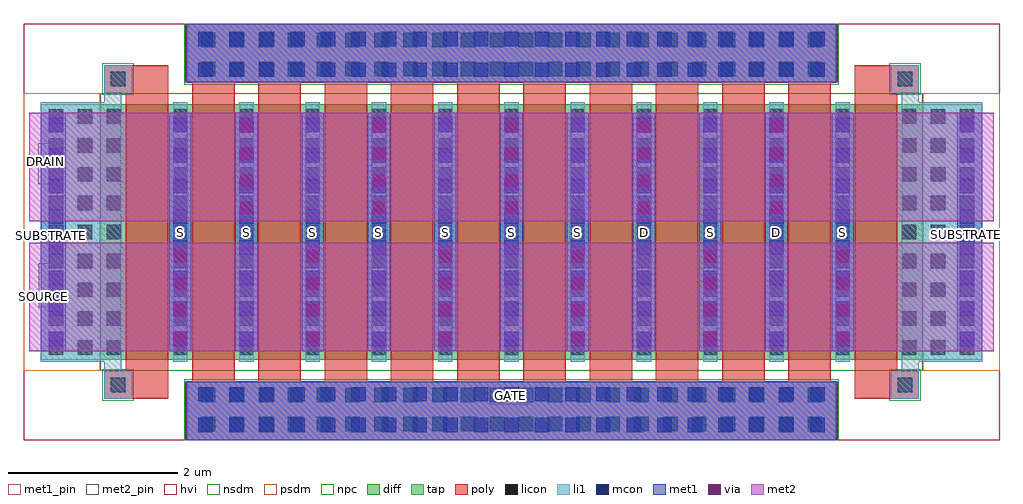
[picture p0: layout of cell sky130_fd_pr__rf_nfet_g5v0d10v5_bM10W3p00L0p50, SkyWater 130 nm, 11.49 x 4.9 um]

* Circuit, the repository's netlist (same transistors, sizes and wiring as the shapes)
* Copyright 2020 The SkyWater PDK Authors
*
* Licensed under the Apache License, Version 2.0 (the "License");
* you may not use this file except in compliance with the License.
* You may obtain a copy of the License at
*
*     https://www.apache.org/licenses/LICENSE-2.0
*
* Unless required by applicable law or agreed to in writing, software
* distributed under the License is distributed on an "AS IS" BASIS,
* WITHOUT WARRANTIES OR CONDITIONS OF ANY KIND, either express or implied.
* See the License for the specific language governing permissions and
* limitations under the License.
*
* SPDX-License-Identifier: Apache-2.0


.subckt sky130_fd_pr__rf_nfet_g5v0d10v5_bM10W3p00L0p50 DRAIN GATE SOURCE SUBSTRATE
X0 SOURCE GATE DRAIN SUBSTRATE sky130_fd_pr__nfet_g5v0d10v5 w=3.01e+06u l=500000u
X1 SOURCE GATE DRAIN SUBSTRATE sky130_fd_pr__nfet_g5v0d10v5 w=3.01e+06u l=500000u
X2 DRAIN GATE SOURCE SUBSTRATE sky130_fd_pr__nfet_g5v0d10v5 w=3.01e+06u l=500000u
X3 DRAIN GATE SOURCE SUBSTRATE sky130_fd_pr__nfet_g5v0d10v5 w=3.01e+06u l=500000u
X4 DRAIN GATE SOURCE SUBSTRATE sky130_fd_pr__nfet_g5v0d10v5 w=3.01e+06u l=500000u
X5 DRAIN GATE SOURCE SUBSTRATE sky130_fd_pr__nfet_g5v0d10v5 w=3.01e+06u l=500000u
X6 DRAIN GATE SOURCE SUBSTRATE sky130_fd_pr__nfet_g5v0d10v5 w=3.01e+06u l=500000u
X7 SUBSTRATE SUBSTRATE SOURCE SUBSTRATE sky130_fd_pr__nfet_g5v0d10v5 w=3.01e+06u l=500000u
X8 SOURCE SUBSTRATE SUBSTRATE SUBSTRATE sky130_fd_pr__nfet_g5v0d10v5 w=3.01e+06u l=500000u
X9 SOURCE GATE DRAIN SUBSTRATE sky130_fd_pr__nfet_g5v0d10v5 w=3.01e+06u l=500000u
X10 SOURCE GATE DRAIN SUBSTRATE sky130_fd_pr__nfet_g5v0d10v5 w=3.01e+06u l=500000u
X11 SOURCE GATE DRAIN SUBSTRATE sky130_fd_pr__nfet_g5v0d10v5 w=3.01e+06u l=500000u
.ends

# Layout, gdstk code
import gdstk
lib = gdstk.Library(unit=1e-6, precision=1e-09)
def R(c, l, rs):  # rectangles x0, y0, x1, y1
    for r in rs: c.add(gdstk.rectangle(r[:2], r[2:], *l))
def A(c, l, x, y, w, h, nx, ny, dx, dy):  # array of equal rectangles
    R(c, l, [(x+i*dx, y+j*dy, x+i*dx+w, y+j*dy+h) for i in range(nx) for j in range(ny)])
diff = (65, 20)
tap = (65, 44)
poly = (66, 20)
licon = (66, 44)
li1 = (67, 20)
mcon = (67, 44)
met1_pin = (68, 16)
met1 = (68, 20)
via = (68, 44)
met2_pin = (69, 16)
met2 = (69, 20)
hvi = (75, 20)
nsdm = (93, 44)
psdm = (94, 20)
npc = (95, 20)

sky130_fd_pr__rf_nfet_g5 = lib.new_cell('sky130_fd_pr__rf_nfet_g5v0d10v5_bM10W3p00L0p50')
R(sky130_fd_pr__rf_nfet_g5, diff, [(0.905,0.945,10.585,3.955)])
R(sky130_fd_pr__rf_nfet_g5, tap, [(0.205,0.945,0.905,3.955), (10.585,0.945,11.285,3.955)])
A(sky130_fd_pr__rf_nfet_g5, poly, 1.985, 0.695, 0.5, 3.51, 10, 1, 0.78, 0)
R(sky130_fd_pr__rf_nfet_g5, poly, [(1.915,0,9.575,0.695), (0.95,0.485,1.28,0.815), (1.205,0.485,1.705,4.415), (9.785,0.485,10.285,4.415), (10.21,0.485,10.54,0.815), (0.95,4.085,1.28,4.415), (10.21,4.085,10.54,4.415), (1.915,4.205,9.575,4.9)])
A(sky130_fd_pr__rf_nfet_g5, licon, 2.09, 0.105, 0.17, 0.17, 22, 2, 0.34, 0.34)
A(sky130_fd_pr__rf_nfet_g5, licon, 0.3, 1.005, 0.17, 0.17, 3, 9, 0.34, 0.34)
A(sky130_fd_pr__rf_nfet_g5, licon, 1.76, 1.005, 0.17, 0.17, 12, 9, 0.78, 0.34)
A(sky130_fd_pr__rf_nfet_g5, licon, 10.68, 1.005, 0.17, 0.17, 1, 9, 0, 0.34)
A(sky130_fd_pr__rf_nfet_g5, licon, 11.02, 1.005, 0.17, 0.17, 1, 9, 0, 0.34)
A(sky130_fd_pr__rf_nfet_g5, licon, 2.09, 4.285, 0.17, 0.17, 22, 2, 0.34, 0.34)
R(sky130_fd_pr__rf_nfet_g5, licon, [(1.03,0.565,1.2,0.735), (10.29,0.565,10.46,0.735), (1.03,4.165,1.2,4.335), (10.29,4.165,10.46,4.335)])
A(sky130_fd_pr__rf_nfet_g5, li1, 1.76, 0.925, 0.17, 3.05, 11, 1, 0.78, 0)
A(sky130_fd_pr__rf_nfet_g5, li1, 1.76, 1.105, 0.17, 2.69, 11, 1, 0.78, 0)
R(sky130_fd_pr__rf_nfet_g5, li1, [(1.925,0,9.565,0.685), (0.95,0.485,1.28,0.815), (10.21,0.485,10.54,0.815), (0.95,0.815,1.15,0.925), (10.34,0.815,10.54,0.925), (0.205,0.925,1.15,3.975), (10.34,0.925,11.285,3.975), (0.95,3.975,1.15,4.085), (10.34,3.975,10.54,4.085), (0.95,4.085,1.28,4.415), (10.21,4.085,10.54,4.415), (1.925,4.215,9.565,4.9)])
A(sky130_fd_pr__rf_nfet_g5, mcon, 2.06, 0.095, 0.17, 0.17, 21, 2, 0.36, 0.36)
A(sky130_fd_pr__rf_nfet_g5, mcon, 0.3, 1.105, 0.17, 0.17, 1, 8, 0, 0.36)
A(sky130_fd_pr__rf_nfet_g5, mcon, 1.76, 1.105, 0.17, 0.17, 11, 8, 0.78, 0.36)
A(sky130_fd_pr__rf_nfet_g5, mcon, 11.02, 1.105, 0.17, 0.17, 1, 8, 0, 0.36)
A(sky130_fd_pr__rf_nfet_g5, mcon, 2.06, 4.275, 0.17, 0.17, 21, 2, 0.36, 0.36)
R(sky130_fd_pr__rf_nfet_g5, met1_pin, [(5.49,0.425,5.975,0.6), (0.205,2.33,0.5,2.48), (10.99,2.345,11.285,2.495), (5.48,4.285,6.09,4.45)])
A(sky130_fd_pr__rf_nfet_g5, met1, 1.715, 1.045, 0.26, 1.28, 6, 1, 1.56, 0)
A(sky130_fd_pr__rf_nfet_g5, met1, 1.715, 1.045, 0.26, 2.81, 11, 1, 0.78, 0)
A(sky130_fd_pr__rf_nfet_g5, met1, 2.495, 2.575, 0.26, 1.28, 5, 1, 1.56, 0)
R(sky130_fd_pr__rf_nfet_g5, met1, [(1.905,0,9.585,0.685), (0.205,1.045,0.5,3.855), (10.99,1.045,11.285,3.855), (1.905,4.215,9.585,4.9)])
A(sky130_fd_pr__rf_nfet_g5, via, 1.77, 1.13, 0.15, 0.15, 6, 4, 1.56, 0.32)
A(sky130_fd_pr__rf_nfet_g5, via, 2.55, 2.66, 0.15, 0.15, 5, 4, 1.56, 0.32)
R(sky130_fd_pr__rf_nfet_g5, met2_pin, [(0.18,1.565,0.33,2.085), (0.175,3.01,0.35,3.495)])
A(sky130_fd_pr__rf_nfet_g5, met2, 1.715, 1.045, 0.26, 1.28, 6, 1, 1.56, 0)
A(sky130_fd_pr__rf_nfet_g5, met2, 2.495, 2.575, 0.26, 1.28, 5, 1, 1.56, 0)
R(sky130_fd_pr__rf_nfet_g5, met2, [(0.07,1.045,11.42,2.325), (0.07,2.575,11.42,3.855)])
R(sky130_fd_pr__rf_nfet_g5, hvi, [(0,0,11.49,4.9)])
R(sky130_fd_pr__rf_nfet_g5, nsdm, [(0.905,0.815,10.585,4.085)])
R(sky130_fd_pr__rf_nfet_g5, psdm, [(0,0.815,0.905,4.085), (10.585,0.815,11.49,4.085)])
R(sky130_fd_pr__rf_nfet_g5, npc, [(1.895,0,9.595,0.715), (0.93,0.465,1.3,0.835), (10.19,0.465,10.56,0.835), (0.93,4.065,1.3,4.435), (10.19,4.065,10.56,4.435), (1.895,4.185,9.595,4.9)])
sky130_fd_pr__rf_nfet_g5.add(gdstk.Label('GATE', (5.735,0.525), layer=68, texttype=5))
sky130_fd_pr__rf_nfet_g5.add(gdstk.Label('SOURCE', (0.23,1.685), layer=69, texttype=5))
sky130_fd_pr__rf_nfet_g5.add(gdstk.Label('DRAIN', (0.255,3.275), layer=69, texttype=5))
sky130_fd_pr__rf_nfet_g5.add(gdstk.Label('S', (8.085,2.45), layer=83, texttype=44))
sky130_fd_pr__rf_nfet_g5.add(gdstk.Label('S', (9.645,2.45), layer=83, texttype=44))
sky130_fd_pr__rf_nfet_g5.add(gdstk.Label('D', (8.865,2.45), layer=83, texttype=44))
sky130_fd_pr__rf_nfet_g5.add(gdstk.Label('S', (8.085,2.45), layer=83, texttype=44))
sky130_fd_pr__rf_nfet_g5.add(gdstk.Label('D', (7.305,2.45), layer=83, texttype=44))
sky130_fd_pr__rf_nfet_g5.add(gdstk.Label('S', (8.865,2.45), layer=83, texttype=44))
sky130_fd_pr__rf_nfet_g5.add(gdstk.Label('S', (7.305,2.45), layer=83, texttype=44))
sky130_fd_pr__rf_nfet_g5.add(gdstk.Label('S', (4.965,2.45), layer=83, texttype=44))
sky130_fd_pr__rf_nfet_g5.add(gdstk.Label('S', (5.745,2.45), layer=83, texttype=44))
sky130_fd_pr__rf_nfet_g5.add(gdstk.Label('S', (6.525,2.45), layer=83, texttype=44))
sky130_fd_pr__rf_nfet_g5.add(gdstk.Label('D', (4.965,2.45), layer=83, texttype=44))
sky130_fd_pr__rf_nfet_g5.add(gdstk.Label('S', (5.745,2.45), layer=83, texttype=44))
sky130_fd_pr__rf_nfet_g5.add(gdstk.Label('D', (6.525,2.45), layer=83, texttype=44))
sky130_fd_pr__rf_nfet_g5.add(gdstk.Label('S', (3.405,2.45), layer=83, texttype=44))
sky130_fd_pr__rf_nfet_g5.add(gdstk.Label('S', (4.185,2.45), layer=83, texttype=44))
sky130_fd_pr__rf_nfet_g5.add(gdstk.Label('S', (3.405,2.45), layer=83, texttype=44))
sky130_fd_pr__rf_nfet_g5.add(gdstk.Label('D', (4.185,2.45), layer=83, texttype=44))
sky130_fd_pr__rf_nfet_g5.add(gdstk.Label('S', (1.845,2.45), layer=83, texttype=44))
sky130_fd_pr__rf_nfet_g5.add(gdstk.Label('S', (1.845,2.45), layer=83, texttype=44))
sky130_fd_pr__rf_nfet_g5.add(gdstk.Label('S', (2.625,2.45), layer=83, texttype=44))
sky130_fd_pr__rf_nfet_g5.add(gdstk.Label('D', (2.625,2.45), layer=83, texttype=44))
sky130_fd_pr__rf_nfet_g5.add(gdstk.Label('dummy_poly', (10.01,2.4), layer=83, texttype=44))
sky130_fd_pr__rf_nfet_g5.add(gdstk.Label('dummy_poly', (1.43,2.465), layer=83, texttype=44))
sky130_fd_pr__rf_nfet_g5.add(gdstk.Label('model_use_only', (2.19,2.455), layer=66, texttype=83))
sky130_fd_pr__rf_nfet_g5.add(gdstk.Label('model_use_only', (2.99,2.47), layer=66, texttype=83))
sky130_fd_pr__rf_nfet_g5.add(gdstk.Label('model_use_only', (3.765,2.505), layer=66, texttype=83))
sky130_fd_pr__rf_nfet_g5.add(gdstk.Label('model_use_only', (4.55,2.47), layer=66, texttype=83))
sky130_fd_pr__rf_nfet_g5.add(gdstk.Label('model_use_only', (5.34,2.445), layer=66, texttype=83))
sky130_fd_pr__rf_nfet_g5.add(gdstk.Label('model_use_only', (6.1,2.395), layer=66, texttype=83))
sky130_fd_pr__rf_nfet_g5.add(gdstk.Label('model_use_only', (6.85,2.38), layer=66, texttype=83))
sky130_fd_pr__rf_nfet_g5.add(gdstk.Label('model_use_only', (7.685,2.34), layer=66, texttype=83))
sky130_fd_pr__rf_nfet_g5.add(gdstk.Label('model_use_only', (8.45,2.395), layer=66, texttype=83))
sky130_fd_pr__rf_nfet_g5.add(gdstk.Label('model_use_only', (9.26,2.495), layer=66, texttype=83))
sky130_fd_pr__rf_nfet_g5.add(gdstk.Label('model_use_only', (9.845,2.45), layer=66, texttype=83))
sky130_fd_pr__rf_nfet_g5.add(gdstk.Label('model_use_only', (1.615,2.45), layer=66, texttype=83))
sky130_fd_pr__rf_nfet_g5.add(gdstk.Label('SUBSTRATE', (11.1,2.425), layer=68, texttype=16))
sky130_fd_pr__rf_nfet_g5.add(gdstk.Label('SUBSTRATE', (0.335,2.41), layer=68, texttype=16))

lib.write_gds('sky130_fd_pr__rf_nfet_g5v0d10v5_bM10W3p00L0p50.gds')
